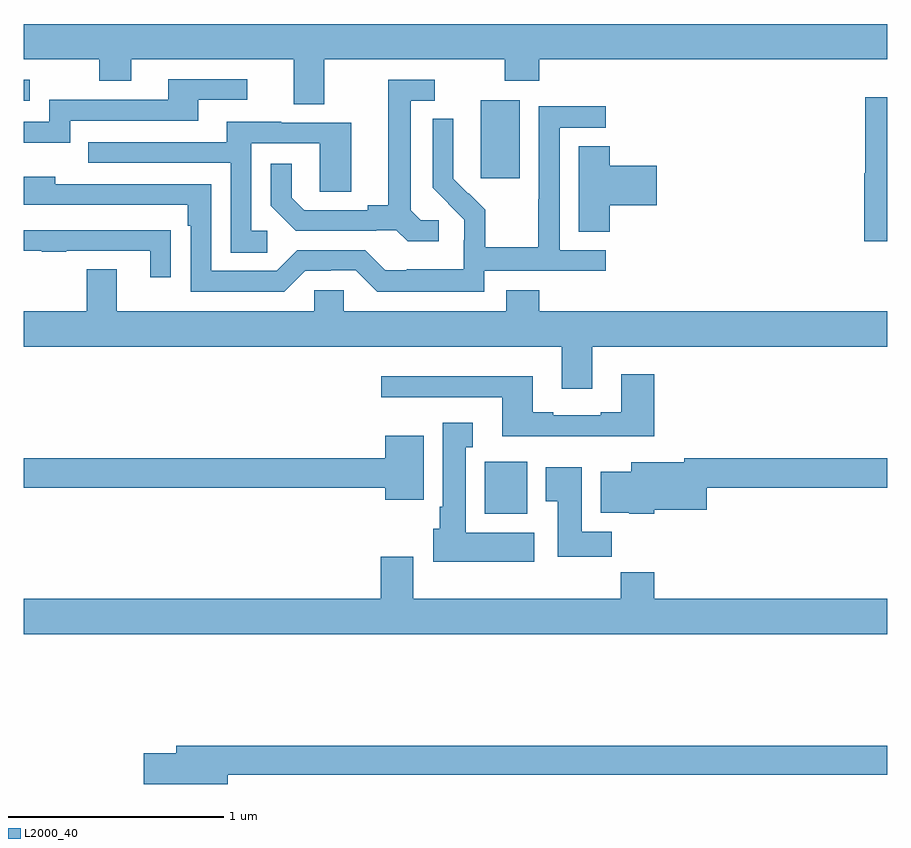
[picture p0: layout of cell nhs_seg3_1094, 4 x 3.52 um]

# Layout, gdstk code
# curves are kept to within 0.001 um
import gdstk
lib = gdstk.Library(unit=1e-6, precision=1e-09)
def R(c, l, rs):  # rectangles x0, y0, x1, y1
    for r in rs: c.add(gdstk.rectangle(r[:2], r[2:], *l))
def P(c, l, *ps):  # polygons
    for p in ps: c.add(gdstk.Polygon(p, *l))
L2000_40 = (2000, 40)

nhs_seg3_1094 = lib.new_cell('nhs_seg3_1094')
R(nhs_seg3_1094, L2000_40, [(169.136,724.118,169.333,724.36), (169.118,725.673,169.297,726.034), (167,726.033,167.026,726.129)])
P(nhs_seg3_1094, L2000_40, [(168.391,726.224),(169.228,726.224),(169.228,726.125),(169.388,726.125),(169.388,726.224),(171,726.224),(171,726.388),(167,726.388),(167,726.224),(167.35,726.224),(167.35,726.125),(167.497,726.125),(167.497,726.224),(168.251,726.224),(168.251,726.016),(168.391,726.016)],
  [(167.214,725.94),(167.809,725.94),(167.809,726.036),(168.034,726.036),(168.034,726.132),(167.669,726.132),(167.669,726.036),(167.118,726.036),(167.118,725.934),(167,725.934),(167,725.837),(167.214,725.837)],
  [(168.922,725.478),(168.84,725.478),(168.793,725.525),(168.793,726.033),(168.904,726.033),(168.904,726.129),(168.689,726.129),(168.689,725.549),(168.593,725.549),(168.593,725.526),(168.298,725.526),(168.241,725.583),(168.241,725.74),(168.144,725.74),(168.144,725.546),(168.26,725.43),(168.632,725.43),(168.632,725.433),(168.726,725.433),(168.778,725.381),(168.922,725.381)],
  [(171,726.049),(170.9,726.049),(170.9,725.697),(170.894,725.697),(170.894,725.382),(171,725.382)],
  [(169.134,725.244),(169.696,725.244),(169.696,725.34),(169.482,725.34),(169.482,725.907),(169.696,725.907),(169.696,726.006),(169.386,726.006),(169.386,725.576),(169.384,725.576),(169.384,725.353),(169.139,725.353),(169.139,725.527),(169.062,725.604),(169.059,725.601),(168.989,725.672),(168.99,725.948),(168.894,725.948),(168.894,725.63),(169.04,725.482),(169.04,725.385),(169.038,725.385),(169.038,725.251),(168.775,725.251),(168.775,725.247),(168.675,725.247),(168.582,725.34),(168.267,725.34),(168.171,725.244),(167.868,725.244),(167.868,725.646),(167.144,725.646),(167.144,725.68),(167,725.68),(167,725.55),(167.759,725.55),(167.759,725.453),(167.772,725.453),(167.772,725.148),(168.207,725.148),(168.303,725.244),(168.422,725.244),(168.422,725.247),(168.537,725.247),(168.637,725.147),(169.134,725.147)],
  [(168.127,725.43),(168.054,725.43),(168.054,725.835),(168.372,725.835),(168.372,725.611),(168.517,725.611),(168.517,725.931),(168.193,725.931),(168.193,725.935),(167.939,725.935),(167.939,725.841),(167.299,725.841),(167.299,725.745),(167.958,725.745),(167.958,725.329),(168.127,725.329)],
  [(169.715,725.549),(169.933,725.549),(169.933,725.732),(169.715,725.732),(169.715,725.822),(169.571,725.822),(169.571,725.425),(169.715,725.425)],
  [(167.681,725.432),(167.579,725.432),(167.579,725.433),(167,725.433),(167,725.337),(167.083,725.337),(167.083,725.332),(167.195,725.332),(167.195,725.337),(167.585,725.337),(167.585,725.214),(167.681,725.214)],
  [(169.633,724.892),(171,724.892),(171,725.056),(169.388,725.056),(169.388,725.155),(169.235,725.155),(169.235,725.056),(168.483,725.056),(168.483,725.154),(168.345,725.154),(168.345,725.056),(167.431,725.056),(167.431,725.251),(167.291,725.251),(167.291,725.056),(167,725.056),(167,724.892),(169.493,724.892),(169.493,724.698),(169.633,724.698)],
  [(169.922,724.765),(169.769,724.765),(169.769,724.588),(169.673,724.588),(169.673,724.575),(169.453,724.575),(169.453,724.588),(169.357,724.588),(169.357,724.756),(168.657,724.756),(168.657,724.659),(169.217,724.659),(169.217,724.478),(169.922,724.478)],
  [(169.366,724.03),(169.048,724.03),(169.048,724.427),(169.081,724.427),(169.081,724.54),(168.941,724.54),(168.941,724.15),(168.926,724.15),(168.926,724.05),(168.896,724.05),(168.896,723.896),(169.366,723.896)],
  [(168.853,724.48),(168.674,724.48),(168.674,724.376),(167,724.376),(167,724.24),(168.674,724.24),(168.674,724.184),(168.853,724.184)],
  [(169.92,724.136),(170.164,724.136),(170.164,724.24),(171,724.24),(171,724.376),(170.06,724.376),(170.06,724.357),(169.814,724.357),(169.814,724.312),(169.673,724.312),(169.673,724.124),(169.806,724.124),(169.806,724.118),(169.92,724.118)],
  [(169.724,724.036),(169.585,724.036),(169.585,724.333),(169.418,724.333),(169.418,724.177),(169.475,724.177),(169.475,723.918),(169.724,723.918)],
  [(171,723.724),(169.922,723.724),(169.922,723.848),(169.765,723.848),(169.765,723.724),(168.805,723.724),(168.805,723.919),(168.653,723.919),(168.653,723.724),(167,723.724),(167,723.56),(171,723.56)],
  [(167.944,722.908),(171,722.908),(171,723.044),(167.705,723.044),(167.705,723.008),(167.556,723.008),(167.556,722.866),(167.944,722.866)])

lib.write_gds('nhs_seg3_1094.gds')
